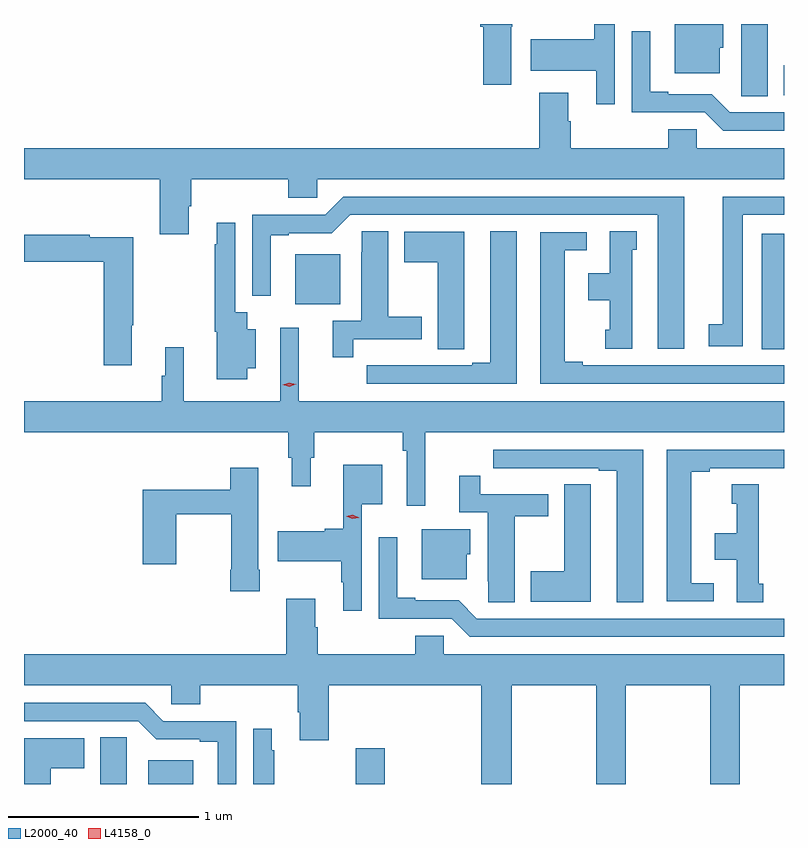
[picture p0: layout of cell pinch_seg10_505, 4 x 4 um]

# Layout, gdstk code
import gdstk
lib = gdstk.Library(unit=1e-6, precision=1e-09)
def R(c, l, rs):  # rectangles x0, y0, x1, y1
    for r in rs: c.add(gdstk.rectangle(r[:2], r[2:], *l))
def P(c, l, *ps):  # polygons
    for p in ps: c.add(gdstk.Polygon(p, *l))
L2000_40 = (2000, 40)
L4158_0 = (4158, 0)

pinch_seg10_505 = lib.new_cell('pinch_seg10_505')
R(pinch_seg10_505, L2000_40, [(143.606,1286.477,143.842,1286.602), (144.697,1286.477,144.851,1286.665), (146.834,1288.765,146.952,1289.373), (144.38,1289.003,144.616,1289.266), (146.951,1290.101,146.952,1290.261)])
P(pinch_seg10_505, L2000_40, [(145.516,1290.462),(145.522,1290.462),(145.522,1290.477),(145.352,1290.477),(145.352,1290.462),(145.37,1290.462),(145.37,1290.156),(145.516,1290.156)],
  [(146.866,1290.477),(146.726,1290.477),(146.726,1290.208),(146.727,1290.208),(146.727,1290.097),(146.866,1290.097)],
  [(146.614,1290.351),(146.632,1290.351),(146.632,1290.477),(146.378,1290.477),(146.378,1290.218),(146.614,1290.218)],
  [(146.061,1290.477),(145.953,1290.477),(145.953,1290.396),(145.62,1290.396),(145.62,1290.23),(145.964,1290.23),(145.964,1290.054),(146.061,1290.054)],
  [(146.952,1290.012),(146.667,1290.012),(146.571,1290.108),(146.344,1290.108),(146.344,1290.121),(146.248,1290.121),(146.248,1290.439),(146.151,1290.439),(146.151,1290.012),(146.535,1290.012),(146.631,1289.916),(146.952,1289.916)],
  [(143.818,1289.518),(143.831,1289.518),(143.831,1289.66),(144.344,1289.66),(144.344,1289.562),(144.495,1289.562),(144.495,1289.66),(146.952,1289.66),(146.952,1289.824),(146.493,1289.824),(146.493,1289.922),(146.342,1289.922),(146.342,1289.824),(145.829,1289.824),(145.829,1289.966),(145.816,1289.966),(145.816,1290.115),(145.664,1290.115),(145.664,1289.824),(142.952,1289.824),(142.952,1289.66),(143.666,1289.66),(143.666,1289.37),(143.818,1289.37)],
  [(146.734,1289.472),(146.952,1289.472),(146.952,1289.568),(146.63,1289.568),(146.63,1288.898),(146.556,1288.898),(146.556,1288.782),(146.734,1288.782)],
  [(146.428,1289.568),(144.633,1289.568),(144.537,1289.472),(144.153,1289.472),(144.153,1289.046),(144.25,1289.046),(144.25,1289.364),(144.346,1289.364),(144.346,1289.376),(144.573,1289.376),(144.669,1289.472),(146.288,1289.472),(146.288,1288.767),(146.428,1288.767)],
  [(144.127,1288.664),(144.172,1288.664),(144.172,1288.87),(144.127,1288.87),(144.127,1288.96),(144.063,1288.96),(144.063,1289.431),(143.966,1289.431),(143.966,1289.318),(143.955,1289.318),(143.955,1288.856),(143.966,1288.856),(143.966,1288.608),(144.127,1288.608)],
  [(146.152,1289.289),(146.176,1289.289),(146.176,1289.387),(146.036,1289.387),(146.036,1289.164),(145.922,1289.164),(145.922,1289.024),(146.036,1289.024),(146.036,1288.869),(146.012,1288.869),(146.012,1288.767),(146.152,1288.767)],
  [(144.686,1288.818),(145.045,1288.818),(145.045,1288.935),(144.868,1288.935),(144.868,1289.387),(144.729,1289.387),(144.729,1289.276),(144.728,1289.276),(144.728,1288.914),(144.578,1288.914),(144.578,1288.722),(144.686,1288.722)],
  [(145.546,1289.387),(145.406,1289.387),(145.406,1288.695),(145.31,1288.695),(145.31,1288.68),(145.034,1288.68),(145.034,1288.681),(144.868,1288.681),(144.868,1288.68),(144.756,1288.68),(144.756,1288.584),(145.546,1288.584)],
  [(145.269,1288.873),(145.27,1288.873),(145.27,1289.383),(144.953,1289.383),(144.953,1289.224),(145.13,1289.224),(145.13,1288.765),(145.269,1288.765)],
  [(146.952,1288.68),(145.894,1288.68),(145.894,1288.7),(145.798,1288.7),(145.798,1289.286),(145.915,1289.286),(145.915,1289.382),(145.67,1289.382),(145.67,1288.584),(146.952,1288.584)],
  [(143.518,1288.892),(143.526,1288.892),(143.526,1289.355),(143.298,1289.355),(143.298,1289.367),(142.952,1289.367),(142.952,1289.225),(143.372,1289.225),(143.372,1288.68),(143.518,1288.68)],
  [(145.064,1288.328),(146.952,1288.328),(146.952,1288.492),(144.398,1288.492),(144.398,1288.879),(144.3,1288.879),(144.3,1288.492),(143.794,1288.492),(143.794,1288.777),(143.696,1288.777),(143.696,1288.626),(143.677,1288.626),(143.677,1288.492),(142.952,1288.492),(142.952,1288.328),(144.343,1288.328),(144.343,1288.194),(144.362,1288.194),(144.362,1288.044),(144.46,1288.044),(144.46,1288.194),(144.479,1288.194),(144.479,1288.328),(144.946,1288.328),(144.946,1288.232),(144.966,1288.232),(144.966,1287.942),(145.064,1287.942)],
  [(146.581,1287.534),(146.464,1287.534),(146.464,1288.12),(146.56,1288.12),(146.56,1288.14),(146.952,1288.14),(146.952,1288.236),(146.336,1288.236),(146.336,1287.438),(146.581,1287.438)],
  [(146.212,1288.236),(145.422,1288.236),(145.422,1288.14),(145.534,1288.14),(145.534,1288.139),(145.7,1288.139),(145.7,1288.14),(145.976,1288.14),(145.976,1288.125),(146.072,1288.125),(146.072,1287.433),(146.212,1287.433)],
  [(144.729,1287.95),(144.838,1287.95),(144.838,1288.156),(144.632,1288.156),(144.632,1287.821),(144.536,1287.821),(144.536,1287.808),(144.288,1287.808),(144.288,1287.65),(144.621,1287.65),(144.621,1287.538),(144.632,1287.538),(144.632,1287.39),(144.729,1287.39)],
  [(144.192,1287.604),(144.184,1287.604),(144.184,1288.141),(144.038,1288.141),(144.038,1288.027),(143.576,1288.027),(143.576,1287.633),(143.754,1287.633),(143.754,1287.898),(144.043,1287.898),(144.043,1287.604),(144.038,1287.604),(144.038,1287.492),(144.192,1287.492)],
  [(145.534,1287.886),(145.711,1287.886),(145.711,1288.002),(145.352,1288.002),(145.352,1288.099),(145.244,1288.099),(145.244,1287.906),(145.394,1287.906),(145.394,1287.544),(145.395,1287.544),(145.395,1287.433),(145.534,1287.433)],
  [(145.936,1287.947),(145.935,1287.947),(145.935,1288.055),(145.796,1288.055),(145.796,1287.597),(145.619,1287.597),(145.619,1287.437),(145.936,1287.437)],
  [(146.842,1287.531),(146.818,1287.531),(146.818,1288.054),(146.678,1288.054),(146.678,1287.951),(146.702,1287.951),(146.702,1287.796),(146.588,1287.796),(146.588,1287.656),(146.702,1287.656),(146.702,1287.433),(146.842,1287.433)],
  [(145.282,1287.687),(145.3,1287.687),(145.3,1287.817),(145.046,1287.817),(145.046,1287.554),(145.282,1287.554)],
  [(146.952,1287.348),(145.335,1287.348),(145.239,1287.444),(145.012,1287.444),(145.012,1287.457),(144.916,1287.457),(144.916,1287.775),(144.819,1287.775),(144.819,1287.348),(145.203,1287.348),(145.299,1287.252),(146.952,1287.252)],
  [(145.518,1286.996),(145.963,1286.996),(145.963,1286.477),(146.118,1286.477),(146.118,1286.996),(146.563,1286.996),(146.563,1286.477),(146.718,1286.477),(146.718,1286.996),(146.952,1286.996),(146.952,1287.16),(145.161,1287.16),(145.161,1287.258),(145.01,1287.258),(145.01,1287.16),(144.497,1287.16),(144.497,1287.302),(144.484,1287.302),(144.484,1287.451),(144.332,1287.451),(144.332,1287.16),(142.952,1287.16),(142.952,1286.996),(143.727,1286.996),(143.727,1286.898),(143.879,1286.898),(143.879,1286.996),(144.392,1286.996),(144.392,1286.854),(144.404,1286.854),(144.404,1286.706),(144.557,1286.706),(144.557,1286.996),(145.358,1286.996),(145.358,1286.477),(145.518,1286.477)],
  [(144.069,1286.808),(143.685,1286.808),(143.589,1286.904),(142.952,1286.904),(142.952,1286.808),(143.553,1286.808),(143.649,1286.712),(143.876,1286.712),(143.876,1286.7),(143.972,1286.7),(143.972,1286.477),(144.069,1286.477)],
  [(144.268,1286.654),(144.256,1286.654),(144.256,1286.767),(144.159,1286.767),(144.159,1286.477),(144.268,1286.477)],
  [(143.494,1286.612),(143.493,1286.612),(143.493,1286.723),(143.354,1286.723),(143.354,1286.477),(143.494,1286.477)],
  [(143.092,1286.56),(143.269,1286.56),(143.269,1286.719),(142.952,1286.719),(142.952,1286.477),(143.092,1286.477)])
P(pinch_seg10_505, L4158_0, [(144.68,1287.873),(144.647,1287.886),(144.646,1287.886),(144.647,1287.887),(144.682,1287.893),(144.716,1287.879),(144.716,1287.879),(144.716,1287.879)],
  [(144.348,1288.569),(144.314,1288.579),(144.313,1288.579),(144.314,1288.579),(144.348,1288.589),(144.383,1288.58),(144.384,1288.58),(144.383,1288.58)])

lib.write_gds('pinch_seg10_505.gds')
